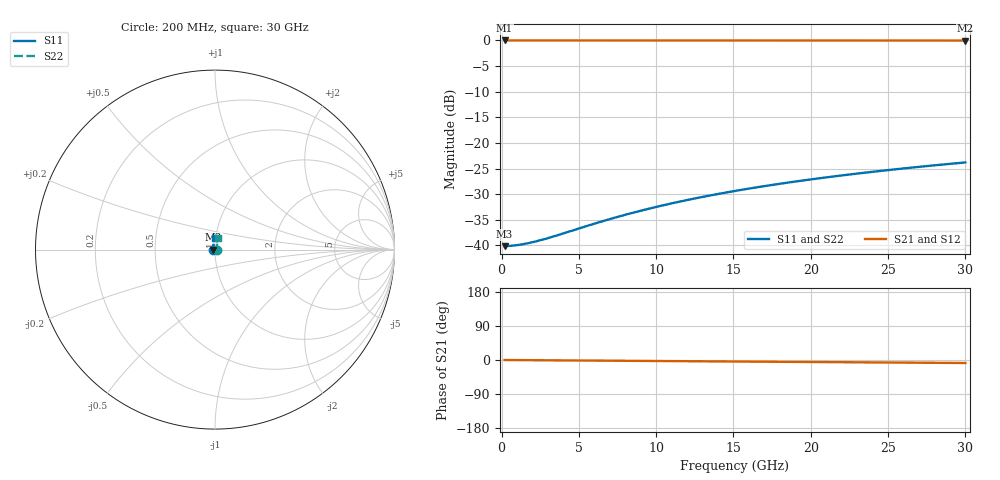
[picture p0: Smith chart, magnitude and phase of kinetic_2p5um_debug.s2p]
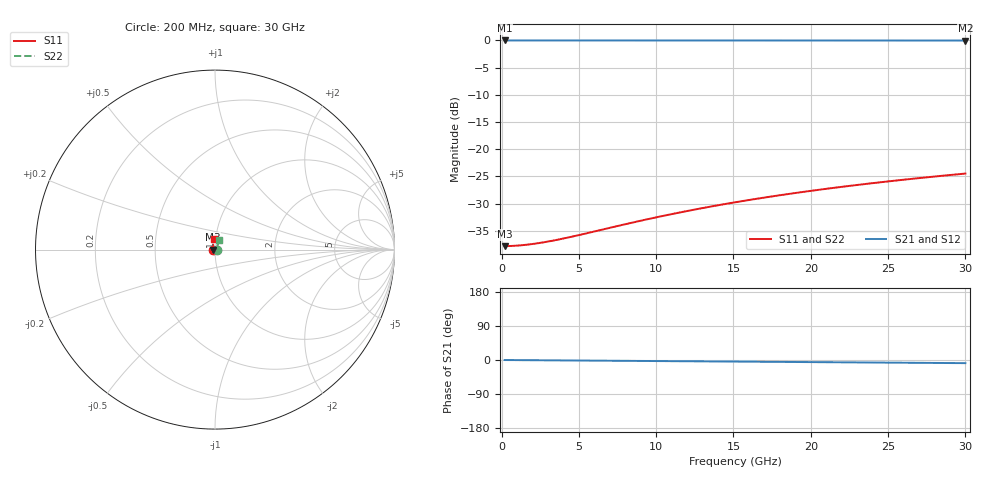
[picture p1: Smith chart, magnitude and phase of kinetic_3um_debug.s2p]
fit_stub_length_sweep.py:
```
#!/usr/bin/env python3
"""Two-port HFSS stub-length fits and 50/80-ohm impedance crossings.

The extraction uses the LCLfBaseCell model over 4–14 GHz and the low-frequency
inductance limit. The 3.5 µm point is excluded because its broadband export
duplicated the 3.0 µm variation. Outputs are stored in result step 39."""

from __future__ import annotations

import csv
from pathlib import Path

from _bootstrap import ROOT

import matplotlib.pyplot as plt
import numpy as np

from fit_hfss_unit_cells import fit_cell
from io_utils import write_csv_rows, write_json
from plotting import save_figure

INPUTS = ROOT / "hfss_inputs"
OUTPUT = ROOT / "results" / "bloch_corrected" / "step_39_stub_length_50_80ohm_sweep"
PAPER_DIGITIZED_CURVE = (
    ROOT
    / "results"
    / "bloch_corrected"
    / "step_32_fig2_z0_comparison"
    / "01b_paper_digitized_Z0_curve.csv"
)

# Exclude the 3.5 µm export: it duplicated the 3.0 µm variation.
CELL_DEFINITIONS: dict[str, dict[str, float | str]] = {
    "2.5um": {
        "stub_length_um": 2.5,
        "broadband_file": "kinetic_2p5um_debug.s2p",
        "lowfreq_file": "kinetic_2p5um_lowfreq.s2p",
    },
    "3um": {
        "stub_length_um": 3.0,
        "broadband_file": "kinetic_3um_debug.s2p",
        "lowfreq_file": "kinetic_3um_lowfreq.s2p",
    },
    "3.9um_baseline": {
        "stub_length_um": 3.9,
        "broadband_file": "kinetic_3p9um_debug.s2p",
        "lowfreq_file": "kinetic_3p9um_lowfreq.s2p",
    },
    "7um": {
        "stub_length_um": 7.0,
        "broadband_file": "kinetic_7um_debug.s2p",
        "lowfreq_file": "kinetic_7um_lowfreq.s2p",
    },
    "8um": {
        "stub_length_um": 8.0,
        "broadband_file": "kinetic_8um_debug.s2p",
        "lowfreq_file": "kinetic_8um_lowfreq.s2p",
    },
    "9um": {
        "stub_length_um": 9.0,
        "broadband_file": "kinetic_9um_debug.s2p",
        "lowfreq_file": "kinetic_9um_lowfreq.s2p",
    },
    "10um": {
        "stub_length_um": 10.0,
        "broadband_file": "kinetic_10um_debug.s2p",
        "lowfreq_file": "kinetic_10um_lowfreq.s2p",
    },
    "11um": {
        "stub_length_um": 11.0,
        "broadband_file": "kinetic_11um_debug.s2p",
        "lowfreq_file": "kinetic_11um_lowfreq.s2p",
    },
    "12um_baseline": {
        "stub_length_um": 12.0,
        "broadband_file": "kinetic_12um_debug.s2p",
        "lowfreq_file": "kinetic_12um_lowfreq.s2p",
    },
}


def find_crossing_length(
    lengths_um: np.ndarray, z0_ohm: np.ndarray, target_ohm: float
) -> float | None:
    """Interpolated length at the target impedance, or None outside the measured range.

    Lengths must increase and impedance must decrease across the input arrays."""
    if not (z0_ohm.min() <= target_ohm <= z0_ohm.max()):
        return None
    # np.interp requires an increasing impedance axis.
    return float(np.interp(target_ohm, z0_ohm[::-1], lengths_um[::-1]))


def load_paper_digitized_curve(path: Path) -> tuple[np.ndarray, np.ndarray]:
    """Length and impedance arrays from the digitized Fig. 2 CSV."""
    rows = list(csv.DictReader(path.open(newline="", encoding="utf-8")))
    lengths_um = np.array([float(row["finger_length_um"]) for row in rows])
    z0_ohm = np.array([float(row["Z0_ohm"]) for row in rows])
    return lengths_um, z0_ohm


def main() -> None:
    OUTPUT.mkdir(parents=True, exist_ok=True)

    fitted_rows = []
    for label, definition in CELL_DEFINITIONS.items():
        fit = fit_cell(INPUTS, definition)
        fitted_rows.append({"label": label, **fit})
        print(
            f"{label:16s} l={fit['stub_length_um']:5.2f} um  L={fit['L_pH']:6.2f} pH  C={fit['C_fF']:6.2f} fF  Z0={fit['Z0_ohm']:6.2f} ohm  "
            f"(S21 rmse={fit['fit_s21_rmse_db']:.4f} dB, phase rmse={fit['fit_phase_rmse_deg']:.3f} deg)"
        )

    fitted_rows.sort(key=lambda row: row["stub_length_um"])
    lengths_um = np.array([row["stub_length_um"] for row in fitted_rows])
    inductance_ph = np.array([row["L_pH"] for row in fitted_rows])
    capacitance_ff = np.array([row["C_fF"] for row in fitted_rows])
    z0_ohm = np.array([row["Z0_ohm"] for row in fitted_rows])

    write_csv_rows(
        OUTPUT / "01_fitted_lengths.csv",
        [
            "label",
            "stub_length_um",
            "L_pH",
            "C_fF",
            "Z0_ohm",
            "fit_s21_rmse_db",
            "fit_phase_rmse_deg",
        ],
        [
            [row["label"] for row in fitted_rows],
            lengths_um,
            inductance_ph,
            capacitance_ff,
            z0_ohm,
            [row["fit_s21_rmse_db"] for row in fitted_rows],
            [row["fit_phase_rmse_deg"] for row in fitted_rows],
        ],
    )

    length_for_50ohm = find_crossing_length(lengths_um, z0_ohm, 50.0)
    length_for_80ohm = find_crossing_length(lengths_um, z0_ohm, 80.0)

    paper_lengths_um, paper_z0_ohm = load_paper_digitized_curve(PAPER_DIGITIZED_CURVE)
    paper_length_for_50ohm = find_crossing_length(paper_lengths_um, paper_z0_ohm, 50.0)
    paper_length_for_80ohm = find_crossing_length(paper_lengths_um, paper_z0_ohm, 80.0)

    fig, (ax_z0, ax_lc) = plt.subplots(1, 2, figsize=(12, 5))

    ax_z0.plot(
        paper_lengths_um,
        paper_z0_ohm,
        "-",
        color="#2a78d6",
        lw=1.5,
        alpha=0.7,
        label="Paper (digitized Fig. 2)",
    )
    ax_z0.plot(
        lengths_um,
        z0_ohm,
        "o-",
        color="tab:blue",
        label="This work (fitted from HFSS, 2-port ABCD)",
    )
    ax_z0.axhline(50, color="gray", ls=":", lw=1)
    ax_z0.axhline(80, color="gray", ls=":", lw=1)
    if length_for_50ohm is not None:
        ax_z0.axvline(
            length_for_50ohm,
            color="green",
            ls="--",
            lw=1,
            label=f"Our Z0=50 ohm at l={length_for_50ohm:.2f} um",
        )
    if length_for_80ohm is not None:
        ax_z0.axvline(
            length_for_80ohm,
            color="purple",
            ls="--",
            lw=1,
            label=f"Our Z0=80 ohm at l={length_for_80ohm:.2f} um",
        )
    if paper_length_for_50ohm is not None:
        ax_z0.axvline(
            paper_length_for_50ohm,
            color="green",
            ls=":",
            lw=1,
            alpha=0.6,
            label=f"Paper's Z0=50 ohm at l={paper_length_for_50ohm:.2f} um",
        )
    if paper_length_for_80ohm is not None:
        ax_z0.axvline(
            paper_length_for_80ohm,
            color="purple",
            ls=":",
            lw=1,
            alpha=0.6,
            label=f"Paper's Z0=80 ohm at l={paper_length_for_80ohm:.2f} um",
        )
    ax_z0.set_xlabel("Finger length [um]")
    ax_z0.set_ylabel("Z0 [ohm]")
    ax_z0.set_xlim(0, 13)
    ax_z0.set_title("Our HFSS stack vs. the paper's own curve")
    ax_z0.legend(fontsize=7.5)
    ax_z0.grid(alpha=0.3)

    ax_lc.plot(lengths_um, inductance_ph, "o-", color="tab:orange", label="L [pH/cell]")
    ax_lc_twin = ax_lc.twinx()
    ax_lc_twin.plot(lengths_um, capacitance_ff, "s-", color="tab:red", label="C [fF/cell]")
    ax_lc.set_xlabel("Finger length [um]")
    ax_lc.set_ylabel("L [pH/cell]", color="tab:orange")
    ax_lc_twin.set_ylabel("C [fF/cell]", color="tab:red")
    ax_lc.set_title("L is ~constant; C rises with length")
    ax_lc.grid(alpha=0.3)

    fig.suptitle("Stub-length sweep: locating Z0=50/80 ohm from HFSS-simulated data")
    fig.tight_layout()
    save_figure(fig, OUTPUT, "02_z0_vs_length")
    plt.close(fig)

    fig_slide, ax_slide = plt.subplots(figsize=(9.0, 5.2))
    ax_slide.plot(
        paper_lengths_um,
        paper_z0_ohm,
        "-",
        color="#2a78d6",
        lw=2.6,
        alpha=0.78,
        label="Paper (digitized Fig. 2)",
    )
    ax_slide.plot(
        lengths_um,
        z0_ohm,
        "o-",
        color="#eb6834",
        lw=2.6,
        ms=7,
        label="This work (HFSS-derived, 2-port fit)",
    )
    for length_um, impedance_ohm, label in (
        (3.9, float(z0_ohm[np.argmin(np.abs(lengths_um - 3.9))]), "short / loaded"),
        (12.0, float(z0_ohm[np.argmin(np.abs(lengths_um - 12.0))]), "long / unloaded"),
    ):
        ax_slide.scatter(
            [length_um],
            [impedance_ohm],
            s=100,
            color="#eb6834",
            edgecolor="white",
            linewidth=1.3,
            zorder=5,
        )
        offset = (12, 12) if length_um < 6 else (-170, 14)
        ax_slide.annotate(
            f"{label}\n{length_um:.1f} µm → {impedance_ohm:.1f} Ω",
            xy=(length_um, impedance_ohm),
            xytext=offset,
            textcoords="offset points",
            fontsize=10,
            color="#343a40",
            arrowprops={"arrowstyle": "-", "color": "#8a8f98", "lw": 1.0},
        )
    ax_slide.set_xlabel("Stub length (µm)")
    ax_slide.set_ylabel("Characteristic impedance, Z₀ (Ω)")
    ax_slide.set_xlim(0, 13)
    ax_slide.set_ylim(35, 125)
    ax_slide.grid(alpha=0.24)
    ax_slide.legend(loc="upper right", frameon=False, fontsize=10)
    fig_slide.tight_layout()
    save_figure(fig_slide, OUTPUT, "02a_z0_vs_length_slide")
    plt.close(fig_slide)

    provenance = {
        "purpose": "Locate finger lengths giving Z0=50/80 ohm for this project's own HFSS stack",
        "method": "fit_hfss_unit_cells.fit_cell() (2-port ABCD fit, same as the main pipeline validated in step_38)",
        "excluded_point": {
            "stub_length_um": 3.5,
            "reason": "kinetic_3p5um_debug.s2p was found byte-identical to kinetic_3um_debug.s2p -- a mis-exported HFSS variation, not real 3.5um data. Excluded until re-exported.",
        },
        "inductance_range_pH": [float(inductance_ph.min()), float(inductance_ph.max())],
        "inductance_approximately_constant": bool(
            np.ptp(inductance_ph) < 0.05 * np.mean(inductance_ph)
        ),
        "length_for_Z0_50ohm_um": length_for_50ohm,
        "length_for_Z0_80ohm_um": length_for_80ohm,
        "paper_digitized_curve_source": str(PAPER_DIGITIZED_CURVE.relative_to(ROOT)),
        "paper_length_for_Z0_50ohm_um": paper_length_for_50ohm,
        "paper_length_for_Z0_80ohm_um": paper_length_for_80ohm,
        "prior_rough_estimate_um": {
            "Z0_50ohm": [8.38, 9.45],
            "Z0_80ohm": [2.97, 3.39],
            "note": "From linearly extrapolating the 7-point 01_our_data.csv fit before this HFSS sweep existed",
        },
    }
    write_json(OUTPUT / "03_provenance.json", provenance)

    print()
    print(
        f"L is approximately constant: {inductance_ph.min():.2f}-{inductance_ph.max():.2f} pH across all lengths"
    )
    if length_for_50ohm is not None:
        print(f"Z0 = 50 ohm at finger length = {length_for_50ohm:.2f} um")
    else:
        print("Z0 = 50 ohm is NOT bracketed by the simulated data")
    if length_for_80ohm is not None:
        print(f"Z0 = 80 ohm at finger length = {length_for_80ohm:.2f} um")
    else:
        print("Z0 = 80 ohm is NOT bracketed by the simulated data")
    print(
        f"Paper's own curve: Z0=50 ohm at l={paper_length_for_50ohm:.2f} um, Z0=80 ohm at l={paper_length_for_80ohm:.2f} um"
    )
    print(f"Wrote outputs to {OUTPUT}")


if __name__ == "__main__":
    main()
```
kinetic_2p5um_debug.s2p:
! Touchstone file exported from HFSS 2026.1.0
!  Generated:  11:50:49 AM Aug 24, 2026
!  Design:  HFSSDesign_Kinetic_debug
!  Project:  kinetic_stub_sweep
!  Setup:  Setup1
!  Solution:  Sweep_discrete_debug
! Variables:
!  stub_length = 2.5um
# GHz S MA R 50.000000
! Terminal data exported
! Port[1] = Port1
! Port[2] = Port2
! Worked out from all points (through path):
!   61 points, 200 MHz to 30 GHz, reference 50 ohm
!   highest |S21| = 0.00 dB at 200 MHz (marker M1); lowest = 0.0 dB at 30 GHz (marker M2)
!   group delay of S21, straight-line fit = 733 fs
!   lowest |S11| = -40.1 dB at 200 MHz (marker M3), VSWR 1.02, Z = 49 + j0.0434 ohm
!   |S11| at or under -10 dB: start of sweep to end of sweep
!   |S22| runs from -40.1 to -23.8 dB; largest |S21 - S12| = 1.5e-12
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0.2  0.009835 177.4  1 -0.1  1 -0.1  0.009835 2.5
! Gamma 1.31840650613476E-31 167.210279057433 4.23870525183608E-32 169.078208790485
! Port Impedance 50 0 50 0
1.193333  0.01016 164.9  0.9999 -0.3  0.9999 -0.3  0.01016 14.4
2.186667  0.01091 153.7  0.9999 -0.6  0.9999 -0.6  0.01091 25.2
7.153333  0.01834 120.5  0.9998 -1.9  0.9998 -1.9  0.01834 55.7
9.636667  0.02304 112.7  0.9997 -2.5  0.9997 -2.5  0.02304 62.2
12.12  0.02796 107.3  0.9996 -3.2  0.9996 -3.2  0.02796 66.3
15.1  0.034 102.7  0.9994 -4.0  0.9994 -4.0  0.034 69.3
18.57667  0.04113 98.8  0.9992 -4.9  0.9992 -4.9  0.04113 71.4
22.05333  0.04829 95.7  0.9988 -5.8  0.9988 -5.8  0.04829 72.6
26.02667  0.05644 93.0  0.9984 -6.9  0.9984 -6.9  0.05644 73.3
30  0.06453 90.7  0.9979 -7.9  0.9979 -7.9  0.06453 73.5
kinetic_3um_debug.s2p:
! Touchstone file exported from HFSS 2026.1.0
!  Generated:  11:51:21 AM Aug 24, 2026
!  Design:  HFSSDesign_Kinetic_debug
!  Project:  kinetic_stub_sweep
!  Setup:  Setup1
!  Solution:  Sweep_discrete_debug
! Variables:
!  stub_length = 2.5um
# GHz S MA R 50.000000
! Terminal data exported
! Port[1] = Port1
! Port[2] = Port2
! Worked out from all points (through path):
!   61 points, 200 MHz to 30 GHz, reference 50 ohm
!   highest |S21| = 0.00 dB at 200 MHz (marker M1); lowest = 0.0 dB at 30 GHz (marker M2)
!   group delay of S21, straight-line fit = 769 fs
!   lowest |S11| = -37.8 dB at 200 MHz (marker M3), VSWR 1.03, Z = 48.7 + j0.04 ohm
!   |S11| at or under -10 dB: start of sweep to end of sweep
!   |S22| runs from -37.8 to -24.5 dB; largest |S21 - S12| = 1.7e-12
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0.2  0.01284 178.2  0.9999 -0.1  0.9999 -0.1  0.01284 1.7
! Gamma 0 168.706754987054 0 171.762135429003
! Port Impedance 50 0 50 0
1.69  0.01326 164.8  0.9999 -0.5  0.9999 -0.5  0.01326 14.2
3.18  0.0143 152.9  0.9999 -0.9  0.9999 -0.9  0.0143 25.4
4.67  0.01584 142.8  0.9999 -1.3  0.9999 -1.3  0.01584 34.6
10.63  0.02468 118.2  0.9997 -2.9  0.9997 -2.9  0.02468 55.9
12.61667  0.02808 113.5  0.9996 -3.5  0.9996 -3.5  0.02808 59.5
15.1  0.03248 108.8  0.9995 -4.2  0.9995 -4.2  0.03248 62.8
18.57667  0.03879 103.9  0.9992 -5.1  0.9992 -5.1  0.03879 65.8
22.05333  0.04516 100.0  0.999 -6.1  0.999 -6.1  0.04516 67.7
26.02667  0.05246 96.6  0.9986 -7.2  0.9986 -7.2  0.05246 69.0
30  0.0597 93.7  0.9982 -8.3  0.9982 -8.3  0.0597 69.7
